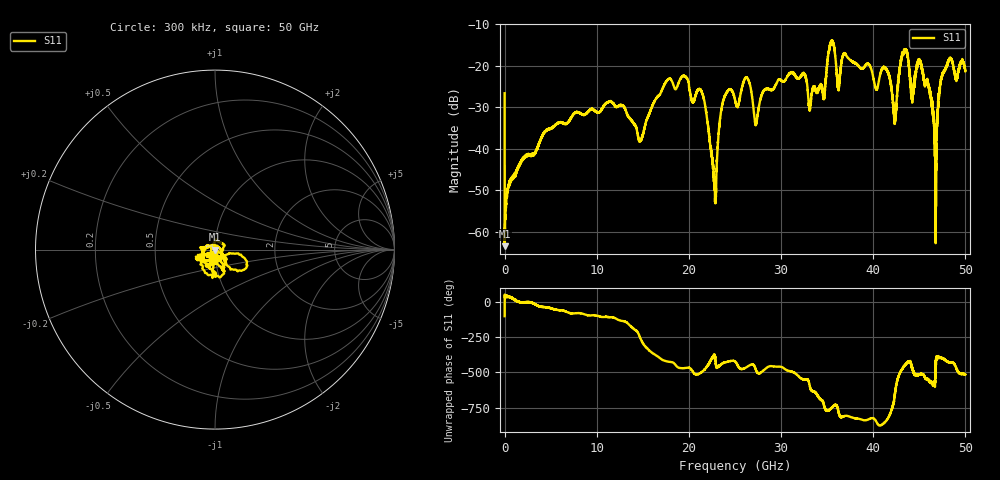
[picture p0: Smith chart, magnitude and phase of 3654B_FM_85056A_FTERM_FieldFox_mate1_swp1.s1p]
!Created with skrf (http://scikit-rf.org).
# Hz S RI R 50.0
!freq ReS11 ImS11
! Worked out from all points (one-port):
!   10001 points, 300 kHz to 50 GHz, reference 50 ohm
!   lowest |S11| = -63.5 dB at 10.3 MHz (marker M1), VSWR 1.00, Z = 50 - j0.0567 ohm
!   |S11| at or under -10 dB: start of sweep to end of sweep
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300000  -0.00795 -0.046
1.029994e7  0.000357 -0.000566
2.552985e8  0.00214 0.00175
6.250262e9  0.0107 -0.0179
1.250022e10  -0.0214 -0.0259
1.473521e10  -0.00298 0.0121
1.875019e10  -0.0105 -0.0561
2.141517e10  -0.0345 -0.0329
2.279016e10  0.00296 -0.00175
2.371516e10  0.0111 -0.036
2.500015e10  0.0188 -0.0341
2.631514e10  -0.0127 -0.0705
2.728514e10  -0.0109 -0.0163
3.125011e10  -0.0603 -0.0569
3.31451e10  -0.013 0.0278
3.465009e10  0.0412 -0.00756
3.546009e10  0.1634 -0.1108
3.621508e10  0.029 -0.047
3.750008e10  -0.0107 -0.1163
4.136505e10  -0.0552 -0.0743
4.233505e10  0.00936 0.0185
4.312504e10  -0.0661 -0.1233
4.375004e10  0.0573 -0.1172
4.422503e10  -0.0115 -0.0387
4.599002e10  -0.0567 0.00977
4.672502e10  -0.00339 0.00224
4.761001e10  0.064 -0.0545
5e10  -0.0774 -0.0374
